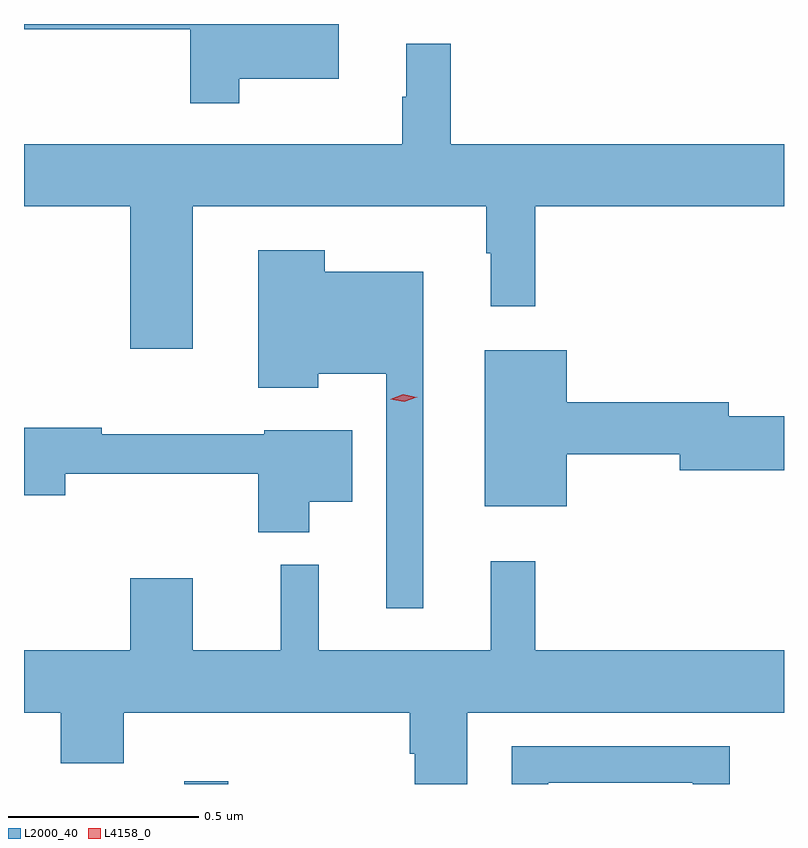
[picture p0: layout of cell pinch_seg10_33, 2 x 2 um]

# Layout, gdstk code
import gdstk
lib = gdstk.Library(unit=1e-6, precision=1e-09)
def R(c, l, rs):  # rectangles x0, y0, x1, y1
    for r in rs: c.add(gdstk.rectangle(r[:2], r[2:], *l))
def P(c, l, *ps):  # polygons
    for p in ps: c.add(gdstk.Polygon(p, *l))
L2000_40 = (2000, 40)
L4158_0 = (4158, 0)

pinch_seg10_33 = lib.new_cell('pinch_seg10_33')
R(pinch_seg10_33, L2000_40, [(920.394,1312.116,920.509,1312.123)])
P(pinch_seg10_33, L2000_40, [(920.539,1313.972),(920.8,1313.972),(920.8,1314.116),(919.972,1314.116),(919.972,1314.102),(920.41,1314.102),(920.41,1313.907),(920.539,1313.907)],
  [(920.416,1313.636),(921.189,1313.636),(921.189,1313.513),(921.2,1313.513),(921.2,1313.373),(921.317,1313.373),(921.317,1313.636),(921.972,1313.636),(921.972,1313.8),(921.095,1313.8),(921.095,1314.064),(920.978,1314.064),(920.978,1313.924),(920.967,1313.924),(920.967,1313.8),(919.972,1313.8),(919.972,1313.636),(920.252,1313.636),(920.252,1313.262),(920.416,1313.262)],
  [(921.022,1313.464),(920.763,1313.464),(920.763,1313.521),(920.588,1313.521),(920.588,1313.159),(920.746,1313.159),(920.746,1313.195),(920.925,1313.195),(920.925,1312.578),(921.022,1312.578)],
  [(921.4,1312.984),(921.698,1312.984),(921.698,1312.942),(921.972,1312.942),(921.972,1313.084),(921.826,1313.084),(921.826,1313.12),(921.4,1313.12),(921.4,1313.257),(921.185,1313.257),(921.185,1312.847),(921.4,1312.847)],
  [(920.722,1312.859),(920.836,1312.859),(920.836,1313.047),(920.604,1313.047),(920.604,1313.037),(920.176,1313.037),(920.176,1313.054),(919.972,1313.054),(919.972,1312.876),(920.08,1312.876),(920.08,1312.933),(920.588,1312.933),(920.588,1312.778),(920.722,1312.778)],
  [(921.139,1312.304),(921.972,1312.304),(921.972,1312.468),(921.317,1312.468),(921.317,1312.702),(921.2,1312.702),(921.2,1312.468),(920.747,1312.468),(920.747,1312.693),(920.647,1312.693),(920.647,1312.468),(920.416,1312.468),(920.416,1312.657),(920.252,1312.657),(920.252,1312.468),(919.972,1312.468),(919.972,1312.304),(920.069,1312.304),(920.069,1312.171),(920.234,1312.171),(920.234,1312.304),(920.987,1312.304),(920.987,1312.195),(921,1312.195),(921,1312.116),(921.139,1312.116)],
  [(921.351,1312.119),(921.732,1312.119),(921.732,1312.116),(921.829,1312.116),(921.829,1312.215),(921.255,1312.215),(921.255,1312.116),(921.351,1312.116)])
P(pinch_seg10_33, L4158_0, [(920.972,1313.122),(920.936,1313.129),(920.935,1313.129),(920.936,1313.129),(920.97,1313.142),(921.006,1313.134),(921.007,1313.134),(921.006,1313.134)])

lib.write_gds('pinch_seg10_33.gds')
